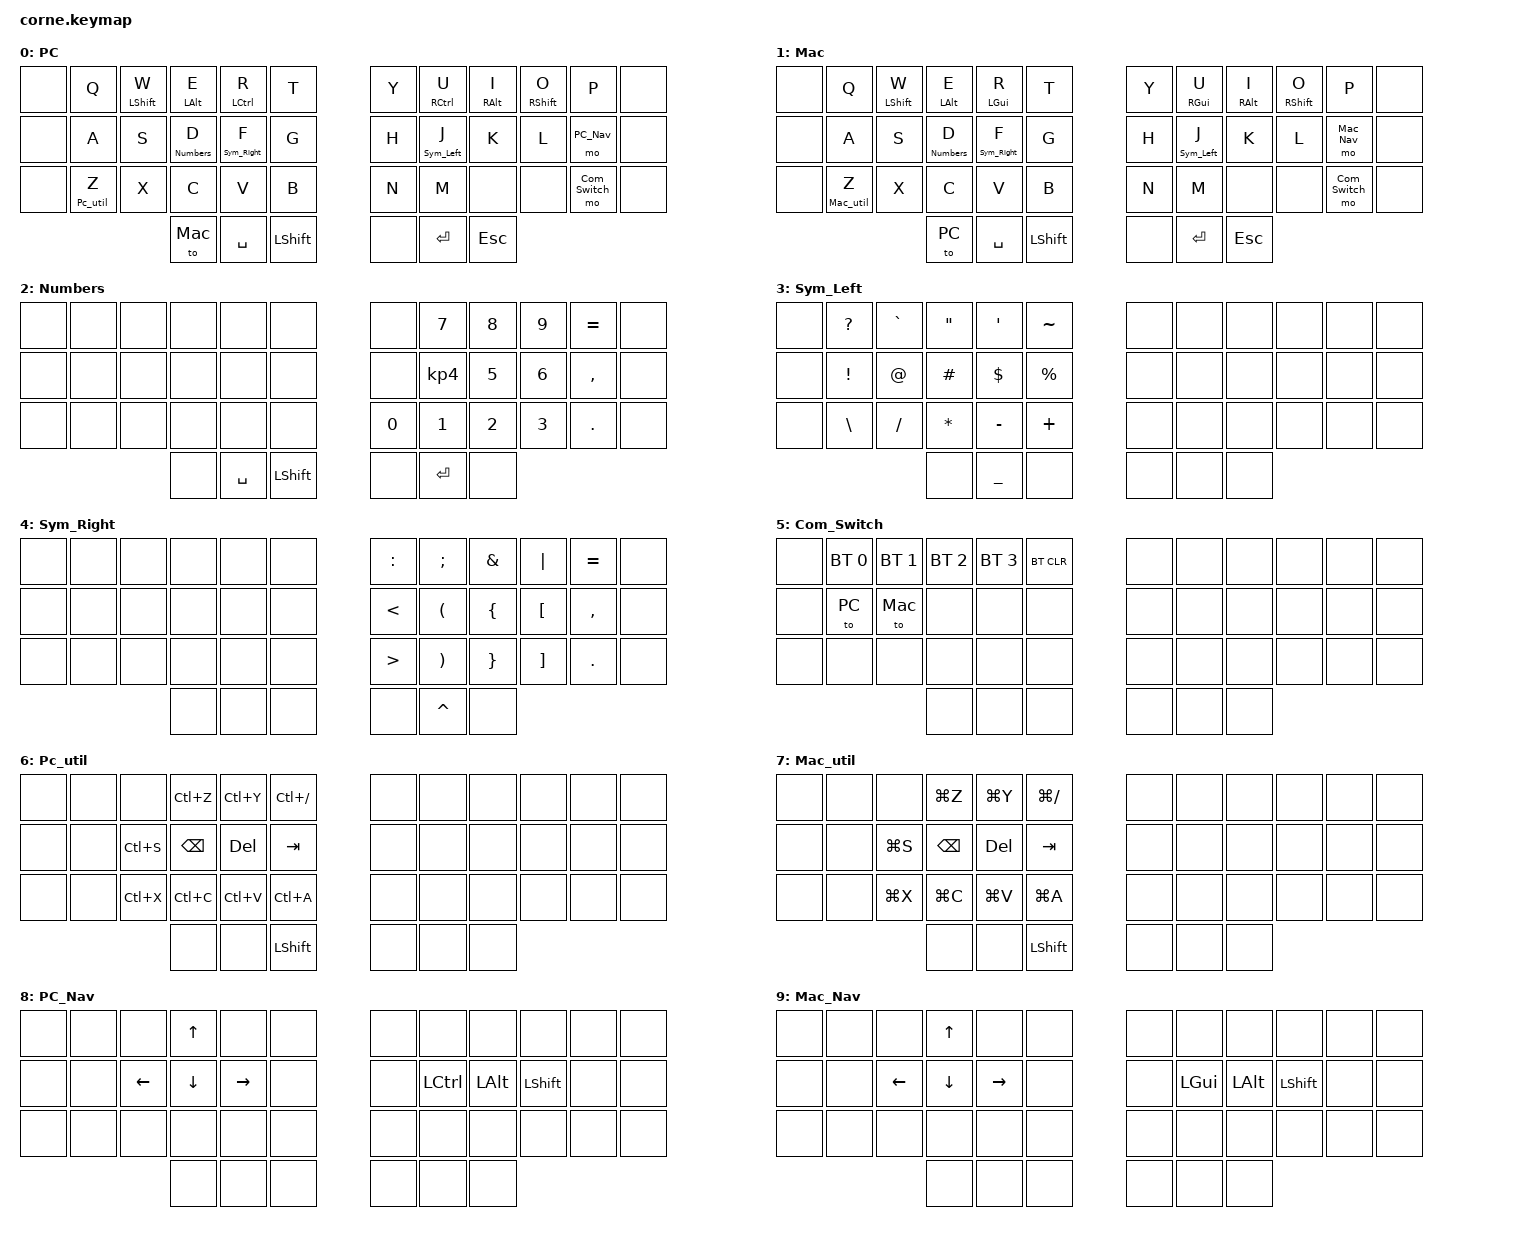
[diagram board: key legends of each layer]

/*
* Copyright (c) 2020 The ZMK Contributors 
* SPDX-License-Identifier: MIT 
*/ 

#include <behaviors.dtsi> 
#include <dt-bindings/zmk/keys.h> 
#include <dt-bindings/zmk/bt.h> 

#define PC 0 
#define Mac 1 
#define Numbers 2 
#define Sym_Left 3 
#define Sym_Right 4 
#define Com_Switch 5 
#define Pc_util 6 
#define Mac_util 7 
#define PC_Nav 8 
#define Mac_Nav 9 
    
/ {
    behaviors {
        hm: homerow_mods {
            compatible = "zmk,behavior-hold-tap";
            label = "HOMEROW_MODS";
            #binding-cells = <2>;
            tapping-term-ms = <300>;
            quick-tap-ms = <200>;
            flavor = "tap-preferred";
            bindings = <&kp>, <&kp>;
        };
    };
    keymap {
    compatible = "zmk,keymap";

    PC_layer {
            label = "PC";
            bindings = <
              &none            &kp Q            &hm LSHIFT W     &hm LALT E       &hm LCTRL R      &kp T            &kp Y            &hm RCTRL U      &hm RALT I       &hm RSHIFT O     &kp P            &none 
              &none            &kp A            &kp S            &lt Numbers D    &lt Sym_Right F  &kp G            &kp H            &lt Sym_Left J   &kp K            &kp L            &mo PC_Nav       &none 
              &none            &lt Pc_util Z    &kp X            &kp C            &kp V            &kp B            &kp N            &kp M            &none            &none            &mo Com_Switch   &none 
                                                &to Mac          &kp SPACE        &kp LSHIFT       &none            &kp ENTER        &kp ESC         
            >;
          };
            
Mac_layer {
            label = "Mac";
            bindings = <
              &none            &kp Q            &hm LSHIFT W     &hm LALT E       &hm LGUI R       &kp T            &kp Y            &hm RGUI U       &hm RALT I       &hm RSHIFT O     &kp P            &none 
              &none            &kp A            &kp S            &lt Numbers D    &lt Sym_Right F  &kp G            &kp H            &lt Sym_Left J   &kp K            &kp L            &mo Mac_Nav      &none 
              &none            &lt Mac_util Z   &kp X            &kp C            &kp V            &kp B            &kp N            &kp M            &none            &none            &mo Com_Switch   &none 
                                                &to PC           &kp SPACE        &kp LSHIFT       &none            &kp ENTER        &kp ESC         
            >;
          };
            
Numbers_layer {
            label = "Numbers";
            bindings = <
              &none            &none            &none            &none            &none            &none            &none            &kp N7           &kp N8           &kp N9           &kp EQUAL        &none 
              &none            &none            &none            &none            &none            &none            &none            &kp KP_N4        &kp N5           &kp N6           &kp COMMA        &none 
              &none            &none            &none            &none            &none            &none            &kp N0           &kp N1           &kp N2           &kp N3           &kp DOT          &none 
                                                &none            &kp SPACE        &kp LSHIFT       &none            &kp ENTER        &none           
            >;
          };
            
Sym_Left_layer {
            label = "Sym_Left";
            bindings = <
              &none            &kp QMARK        &kp GRAVE        &kp DQT          &kp SINGLE_QUOTE &kp TILDE        &none            &none            &none            &none            &none            &none 
              &none            &kp EXCL         &kp AT           &kp HASH         &kp DOLLAR       &kp PERCENT      &none            &none            &none            &none            &none            &none 
              &none            &kp BACKSLASH    &kp SLASH        &kp ASTRK        &kp MINUS        &kp PLUS         &none            &none            &none            &none            &none            &none 
                                                &none            &kp UNDERSCORE   &none            &none            &none            &none           
            >;
          };
            
Sym_Right_layer {
            label = "Sym_Right";
            bindings = <
              &none            &none            &none            &none            &none            &none            &kp COLON        &kp SEMICOLON    &kp AMPERSAND    &kp PIPE         &kp EQUAL        &none 
              &none            &none            &none            &none            &none            &none            &kp LESS_THAN    &kp LPAR         &kp LBRC         &kp LBKT         &kp COMMA        &none 
              &none            &none            &none            &none            &none            &none            &kp GREATER_THAN &kp RPAR         &kp RBRC         &kp  RBKT        &kp DOT          &none 
                                                &none            &none            &none            &none            &kp CARET        &none           
            >;
          };
            
Com_Switch_layer {
            label = "Com_Switch";
            bindings = <
              &none            &bt BT_SEL 0     &bt BT_SEL 1     &bt BT_SEL 2     &bt BT_SEL 3     &bt BT_CLR       &none            &none            &none            &none            &none            &none 
              &none            &to PC           &to Mac          &none            &none            &none            &none            &none            &none            &none            &none            &none 
              &none            &none            &none            &none            &none            &none            &none            &none            &none            &none            &none            &none 
                                                &none            &none            &none            &none            &none            &none           
            >;
          };
            
Pc_util_layer {
            label = "Pc_util";
            bindings = <
              &none            &none            &none            &kp LC(Z)        &kp LC(Y)        &kp LC(SLASH)    &none            &none            &none            &none            &none            &none 
              &none            &none            &kp LC(S)        &kp BACKSPACE    &kp DEL          &kp TAB          &none            &none            &none            &none            &none            &none 
              &none            &none            &kp LC(X)        &kp LC(C)        &kp LC(V)        &kp LC(A)        &none            &none            &none            &none            &none            &none 
                                                &none            &none            &kp LSHIFT       &none            &none            &none           
            >;
          };
            
Mac_util_layer {
            label = "Mac_util";
            bindings = <
              &none            &none            &none            &kp LG(Z)        &kp LG(Y)        &kp LG(SLASH)    &none            &none            &none            &none            &none            &none 
              &none            &none            &kp LG(S)        &kp BACKSPACE    &kp DEL          &kp TAB          &none            &none            &none            &none            &none            &none 
              &none            &none            &kp LG(X)        &kp LG(C)        &kp LG(V)        &kp LG(A)        &none            &none            &none            &none            &none            &none 
                                                &none            &none            &kp LSHIFT       &none            &none            &none           
            >;
          };
            
PC_Nav_layer {
            label = "PC_Nav";
            bindings = <
              &none            &none            &none            &kp UP           &none            &none            &none            &none            &none            &none            &none            &none 
              &none            &none            &kp LEFT         &kp DOWN         &kp RIGHT        &none            &none            &kp LCTRL        &kp LALT         &kp LSHIFT       &none            &none 
              &none            &none            &none            &none            &none            &none            &none            &none            &none            &none            &none            &none 
                                                &none            &none            &none            &none            &none            &none           
            >;
          };
            
Mac_Nav_layer {
            label = "Mac_Nav";
            bindings = <
              &none            &none            &none            &kp UP           &none            &none            &none            &none            &none            &none            &none            &none 
              &none            &none            &kp LEFT         &kp DOWN         &kp RIGHT        &none            &none            &kp LGUI         &kp LALT         &kp LSHIFT       &none            &none 
              &none            &none            &none            &none            &none            &none            &none            &none            &none            &none            &none            &none 
                                                &none            &none            &none            &none            &none            &none           
            >;
          };
            
    };
};
    
